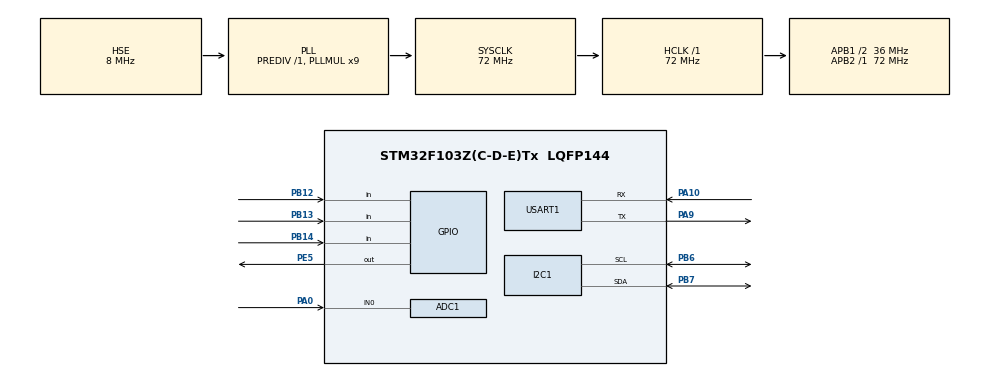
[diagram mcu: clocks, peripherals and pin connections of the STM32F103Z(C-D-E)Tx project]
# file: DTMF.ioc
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ADC1.Channel-0\#ChannelRegularConversion=ADC_CHANNEL_0
ADC1.ContinuousConvMode=ENABLE
ADC1.NbrOfConversion=1
ADC1.NbrOfConversionFlag=1
ADC1.Rank-0\#ChannelRegularConversion=1
ADC1.SamplingTime-0\#ChannelRegularConversion=ADC_SAMPLETIME_239CYCLES_5
ADC1.master=1
Mcu.Family=STM32F1
Mcu.Name=STM32F103Z(C-D-E)Tx
Mcu.Package=LQFP144
NVIC.PriorityGroup=NVIC_PRIORITYGROUP_4
NVIC.TIM6_IRQn=true\:0\:0\:false\:false\:true\:true\:true\:true
NVIC.TIM7_IRQn=true\:2\:0\:true\:false\:true\:true\:true\:true
NVIC.USART1_IRQn=true\:0\:0\:false\:false\:true\:true\:true\:true
OSC_IN.Mode=HSE-External-Oscillator
OSC_IN.Signal=RCC_OSC_IN
OSC_OUT.Mode=HSE-External-Oscillator
OSC_OUT.Signal=RCC_OSC_OUT
PA0-WKUP.Signal=ADCx_IN0
PA10.Mode=Asynchronous
PA10.Signal=USART1_RX
PA13.Mode=Serial_Wire
PA13.Signal=SYS_JTMS-SWDIO
PA14.Mode=Serial_Wire
PA14.Signal=SYS_JTCK-SWCLK
PA9.Mode=Asynchronous
PA9.Signal=USART1_TX
PB12.GPIO_PuPd=GPIO_PULLUP
PB12.Signal=GPIO_Input
PB13.GPIO_PuPd=GPIO_PULLUP
PB13.Signal=GPIO_Input
PB14.GPIO_PuPd=GPIO_PULLUP
PB14.Signal=GPIO_Input
PB6.Mode=I2C
PB6.Signal=I2C1_SCL
PB7.Mode=I2C
PB7.Signal=I2C1_SDA
PE5.PinState=GPIO_PIN_SET
PE5.Signal=GPIO_Output
ProjectManager.HeapSize=0x200
ProjectManager.StackSize=0x400
ProjectManager.TargetToolchain=MDK-ARM V5.32
RCC.ADCPresc=RCC_ADCPCLK2_DIV6
RCC.AHBFreq_Value=72000000
RCC.APB1CLKDivider=RCC_HCLK_DIV2
RCC.APB1Freq_Value=36000000
RCC.APB1TimFreq_Value=72000000
RCC.APB2Freq_Value=72000000
RCC.APB2TimFreq_Value=72000000
RCC.HCLKFreq_Value=72000000
RCC.PLLMUL=RCC_PLL_MUL9
RCC.PLLSourceVirtual=RCC_PLLSOURCE_HSE
RCC.SYSCLKFreq_VALUE=72000000
RCC.SYSCLKSource=RCC_SYSCLKSOURCE_PLLCLK
RCC.USBFreq_Value=72000000
SH.ADCx_IN0.0=ADC1_IN0,IN0
TIM6.Period=1000-1
TIM6.Prescaler=72-1
TIM7.Period=1000-1
TIM7.Prescaler=9-1
USART1.VirtualMode=VM_ASYNC
VP_TIM6_VS_ClockSourceINT.Mode=Enable_Timer
VP_TIM7_VS_ClockSourceINT.Mode=Enable_Timer
board=custom

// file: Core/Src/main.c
/* USER CODE BEGIN Header */
/**
  ******************************************************************************
  * @file           : main.c
  * @brief          : Main program body
  ******************************************************************************
  * @attention
  *
  * Copyright (c) 2022 STMicroelectronics.
  * All rights reserved.
  *
  * This software is licensed under terms that can be found in the LICENSE file
  * in the root directory of this software component.
  * If no LICENSE file comes with this software, it is provided AS-IS.
  *
  ******************************************************************************
  */
/* USER CODE END Header */
#include "main.h"
#include "adc.h"
#include "i2c.h"
#include "tim.h"
#include "usart.h"
#include "gpio.h"

/* USER CODE BEGIN Includes */
#include "oled.h"
#include "task.h"
#include "DTMF.h"
#include "stdio.h"
/* USER CODE END Includes */

void SystemClock_Config(void);
/* USER CODE BEGIN PFP */
uint8_t flag = 0;
/* USER CODE END PFP */

int main(void)
{

  /* MCU Configuration--------------------------------------------------------*/

  /* Reset of all peripherals, Initializes the Flash interface and the Systick. */
  HAL_Init();

  /* Configure the system clock */
  SystemClock_Config();

  /* Initialize all configured peripherals */
  MX_GPIO_Init();
  MX_I2C1_Init();
  MX_TIM6_Init();
  MX_ADC1_Init();
  MX_TIM7_Init();
  MX_USART1_UART_Init();
  /* USER CODE BEGIN 2 */
	HAL_TIM_Base_Start_IT(&htim6);
	HAL_TIM_Base_Start_IT(&htim7);
	HAL_ADCEx_Calibration_Start(&hadc1);
	HAL_ADC_Start(&hadc1);

	OLED_Init();
	OLED_Clear();

  /* USER CODE END 2 */

  /* Infinite loop */
  while (1)
  {

    /* USER CODE BEGIN 3 */
		if(flag == 1)
		{
			flag = 0;
			AllTask();
		}
  }
  /* USER CODE END 3 */
}

void SystemClock_Config(void)
{
  RCC_OscInitTypeDef RCC_OscInitStruct = {0};
  RCC_ClkInitTypeDef RCC_ClkInitStruct = {0};
  RCC_PeriphCLKInitTypeDef PeriphClkInit = {0};

  /** Initializes the RCC Oscillators according to the specified parameters
  * in the RCC_OscInitTypeDef structure.
  */
  RCC_OscInitStruct.OscillatorType = RCC_OSCILLATORTYPE_HSE;
  RCC_OscInitStruct.HSEState = RCC_HSE_ON;
  RCC_OscInitStruct.HSEPredivValue = RCC_HSE_PREDIV_DIV1;
  RCC_OscInitStruct.HSIState = RCC_HSI_ON;
  RCC_OscInitStruct.PLL.PLLState = RCC_PLL_ON;
  RCC_OscInitStruct.PLL.PLLSource = RCC_PLLSOURCE_HSE;
  RCC_OscInitStruct.PLL.PLLMUL = RCC_PLL_MUL9;
  if (HAL_RCC_OscConfig(&RCC_OscInitStruct) != HAL_OK)
  {
    Error_Handler();
  }

  /** Initializes the CPU, AHB and APB buses clocks
  */
  RCC_ClkInitStruct.ClockType = RCC_CLOCKTYPE_HCLK|RCC_CLOCKTYPE_SYSCLK
                              |RCC_CLOCKTYPE_PCLK1|RCC_CLOCKTYPE_PCLK2;
  RCC_ClkInitStruct.SYSCLKSource = RCC_SYSCLKSOURCE_PLLCLK;
  RCC_ClkInitStruct.AHBCLKDivider = RCC_SYSCLK_DIV1;
  RCC_ClkInitStruct.APB1CLKDivider = RCC_HCLK_DIV2;
  RCC_ClkInitStruct.APB2CLKDivider = RCC_HCLK_DIV1;

  if (HAL_RCC_ClockConfig(&RCC_ClkInitStruct, FLASH_LATENCY_2) != HAL_OK)
  {
    Error_Handler();
  }
  PeriphClkInit.PeriphClockSelection = RCC_PERIPHCLK_ADC;
  PeriphClkInit.AdcClockSelection = RCC_ADCPCLK2_DIV6;
  if (HAL_RCCEx_PeriphCLKConfig(&PeriphClkInit) != HAL_OK)
  {
    Error_Handler();
  }
}

/* USER CODE BEGIN 4 */
void HAL_TIM_PeriodElapsedCallback(TIM_HandleTypeDef *htim)
{
	static int ADC_ConvData=0;
	static uint8_t time = 0;
	static uint8_t N_NextCode = 0;
	if(htim->Instance == TIM6)
	{
		flag = 1;
	}
	if(htim->Instance == TIM7)
	{
//		HAL_ADC_Start(&hadc1);
//		while(!ADC_FLAG_EOC);
		ADC_ConvData=HAL_ADC_GetValue(&hadc1);
//		HAL_ADC_Stop(&hadc1);

		time++;
		if(key_value==0||key_value==1)

		{
			if(ADC_ConvData<0x377)	//0x377 == D(887) 用于判断是否是静音，887是认为设定的AD阀值
			{
				N_NextCode++;
			}

			if(time==160)	//160次相当于20ms
			{
				if(N_NextCode >= 152)  next_code=1;	//当20ms内有95%的值小于门限值，则认为有静音，可以判定有下一个码值
				time=0;	  //20ms后各个值复位
				N_NextCode=0;
			}

//		printf("%d\n ", ADC_ConvData);
//		filter_ADCData=filter(b,48, (float)ADC_ConvData);
//		printf("%f  \n", filter_ADCData);
//		DTMF_Decode(filter_ADCData);
     		DTMF_Decode(ADC_ConvData - 2048);

			if(N_decode>110) N_decode = 1;	 //抗噪声8db
		}
	}
}

int fputc(int ch,FILE *f)
{
	HAL_UART_Transmit (&huart1 ,(uint8_t *)&ch,1,HAL_MAX_DELAY );
	return ch;
}

/* USER CODE END 4 */

void Error_Handler(void)
{
  __disable_irq();
  while (1)
  {
  }
}
